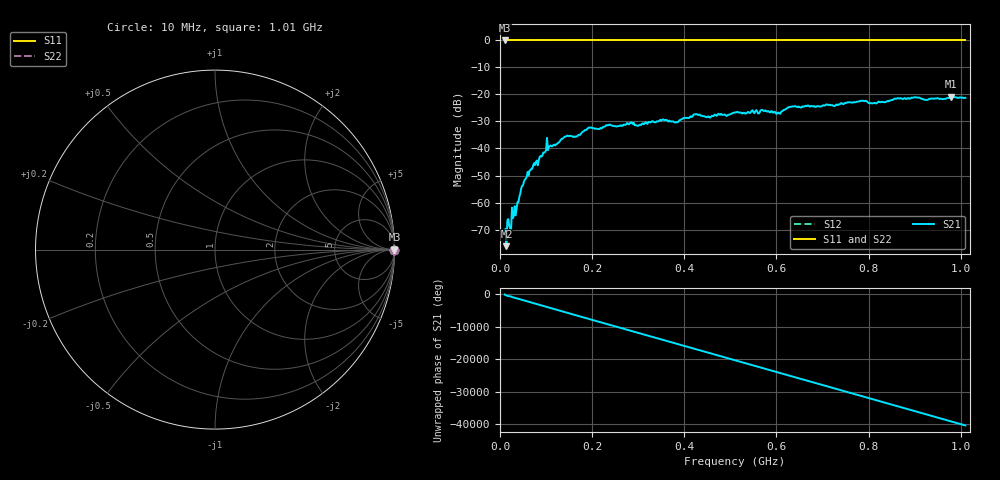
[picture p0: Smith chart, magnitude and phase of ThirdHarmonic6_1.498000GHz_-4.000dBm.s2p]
! 8/16/2025 5:34:52 PM
! C:\ANRITSUVNA\TEMP\TEMP.S2P
! CHANNEL.1
! TR.MEASUREMENT
! RAW.DATA
! RF.CORRECTION.OFF
! AVERAGING.OFF
! IF.BANDWIDTH: 5KHZ
! SWEEPTYPE:  FREQ.SWEEP(Linear)
! Reference Plane Port Info
! PORT:  PORT1  PORT2
! DISTANCE:  0  m  0  m
! TIME:  0  s  0  s
! PHASE.OFFSET:  0  deg.  0  deg.
! LOSS:  0  dB  0  dB
! REF.LOSS:  0  dB  0  dB
! REF.FREQ:  0  Hz  0  Hz
! Power Info
! POWER:  -20  dBm  -20  dBm
! EFF.POWER:  -20  dBm  -20  dBm
! SOURCE.ATTEN:  0  dB  0  dB
! TEST.ATTEN:  0  dB  0  dB
# GHZ S RI R 50.0
! FREQ.GHZ  S11RE  S11IM  S21RE  S21IM  S12RE  S12IM  S22RE  S22IM
!; PortSelection: Port_12
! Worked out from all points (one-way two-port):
!   501 points, 10 MHz to 1.01 GHz, reference 50 ohm
!   highest |S21| = -20.81 dB at 978 MHz (marker M1); lowest = -76.2 dB at 14 MHz (marker M2)
!   lowest |S11| = 0.0 dB at 10 MHz (marker M3)
!   |S11| at or under -10 dB: nowhere
!   |S22| runs from 0.0 to 0.0 dB; largest |S21 - S12| = 1.1
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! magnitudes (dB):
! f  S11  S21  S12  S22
! 10 MHz  0.0  -71.6  0.0  0.0
! 14 MHz  0.0  -76.2  0.0  0.0
! 32 MHz  0.0  -61.4  0.0  0.0
! 56 MHz  0.0  -51.2  0.0  0.0
! 98 MHz  0.0  -41.4  0.0  0.0
! 142 MHz  0.0  -35.6  0.0  0.0
! 178 MHz  0.0  -34.0  0.0  0.0
! 194 MHz  0.0  -32.2  0.0  0.0
! 286 MHz  0.0  -30.6  0.0  0.0
! 302 MHz  0.0  -31.3  0.0  0.0
! 344 MHz  0.0  -29.9  0.0  0.0
! 382 MHz  0.0  -30.3  0.0  0.0
! 424 MHz  0.0  -27.4  0.0  0.0
! 452 MHz  0.0  -28.1  0.0  0.0
! 510 MHz  0.0  -26.6  0.0  0.0
! 570 MHz  0.0  -25.8  0.0  0.0
! 604 MHz  0.0  -26.7  0.0  0.0
! 630 MHz  0.0  -24.6  0.0  0.0
! 678 MHz  0.0  -24.4  0.0  0.0
! 844 MHz  0.0  -22.5  0.0  0.0
! 978 MHz  0.0  -20.8  0.0  0.0
! 1.01 GHz  0.0  -21.2  0.0  0.0
